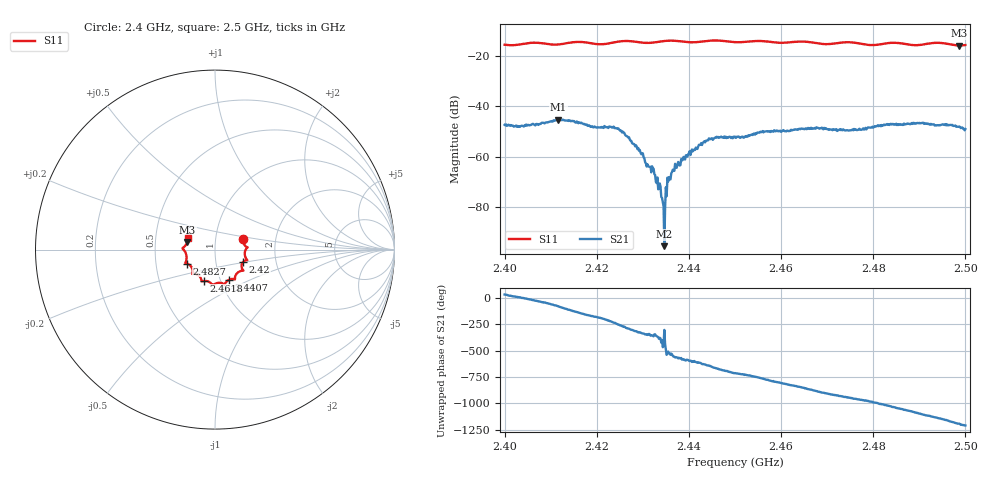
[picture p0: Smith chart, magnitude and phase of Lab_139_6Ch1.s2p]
# Hz S RI R 50
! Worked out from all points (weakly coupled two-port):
!   601 points, 2.4 GHz to 2.5 GHz, reference 50 ohm
!   highest |S21| = -45.30 dB at 2.4117 GHz (marker M1); lowest = -95.6 dB at 2.4347 GHz (marker M2)
!   lowest |S11| = -15.9 dB at 2.4987 GHz (marker M3), VSWR 1.38, Z = 36.5 + j3.23 ohm
!   |S11| at or under -10 dB: start of sweep to end of sweep
!   S12 and S22 are empty: the file has one direction only
!   S11 on the Smith chart (normalised r, x): 2.4 GHz: 1.35, +0.17; 2.42 GHz: 1.36, -0.19; 2.4407 GHz: 1.10, -0.38; 2.4618 GHz: 0.83, -0.30; 2.4827 GHz: 0.72, -0.12; 2.5 GHz: 0.73, +0.10
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2.4e9  0.1544 0.0613  0.00364 0.00222  0 0  0 0
2.411667e9  0.1656 -0.0268  0.00094 -0.00535  0 0  0 0
2.416667e9  0.1788 -0.0584  -0.004 -0.00247  0 0  0 0
2.42e9  0.1564 -0.069  -0.00375 9.34e-05  0 0  0 0
2.424167e9  0.1527 -0.1096  -0.00169 0.00324  0 0  0 0
2.426167e9  0.1583 -0.1172  0.000414 0.00265  0 0  0 0
2.432e9  0.1166 -0.1402  0.000642 4.03e-05  0 0  0 0
2.433333e9  0.1116 -0.153  0.000219 -5.09e-05  0 0  0 0
2.434333e9  0.1111 -0.1604  -4.01e-05 -0.000118  0 0  0 0
2.434667e9  0.1113 -0.1623  9.38e-06 1.38e-05  0 0  0 0
2.435833e9  0.1116 -0.1657  -0.00035 -7.31e-05  0 0  0 0
2.436667e9  0.1105 -0.1659  -0.000501 0.000159  0 0  0 0
2.440667e9  0.0791 -0.1676  -0.000508 0.00129  0 0  0 0
2.4445e9  0.0547 -0.1924  0.00052 0.00216  0 0  0 0
2.45e9  0.0269 -0.1848  0.00248 0.000257  0 0  0 0
2.461833e9  -0.0614 -0.1749  -0.000888 -0.00311  0 0  0 0
2.466667e9  -0.0758 -0.1681  -0.00317 -0.00159  0 0  0 0
2.474833e9  -0.1269 -0.1359  -0.00221 0.00246  0 0  0 0
2.482667e9  -0.158 -0.0778  0.00192 0.00381  0 0  0 0
2.483333e9  -0.1618 -0.0769  0.00249 0.00359  0 0  0 0
2.498667e9  -0.1541 0.0431  -0.00161 -0.0036  0 0  0 0
2.5e9  -0.151 0.0632  -0.0023 -0.00265  0 0  0 0
